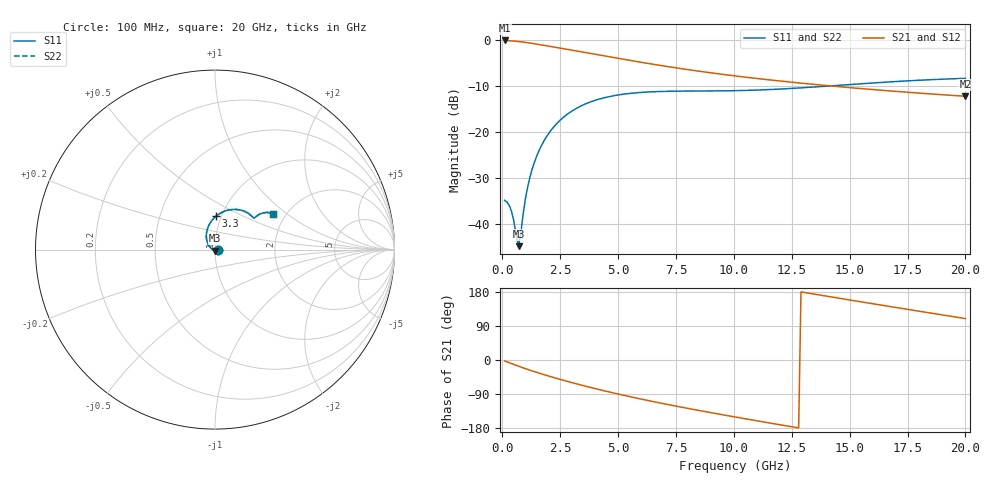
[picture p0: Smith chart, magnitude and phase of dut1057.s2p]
! Touchstone file exported from HFSS 2024.1.0
!  File:  C:/UserFiles/LocalFiles/RDL_TSV_Batchsim/temp_RDL_TSV_1057_1780090097.aedt
!  Generated:  05:45:40 AM May 30, 2026
!  Design:  RDL_TSV
!  Project:  temp_RDL_TSV_1057_1780090097
!  Setup:  Setup1
!  Solution:  Sweep
! Variables:
!  dtsv = 14.5um
!  hbump = 3um
!  htsv = 86.67um
!  ldown = 223.87um
!  lrdl = 679.57um
!  p = 40
!  p1 = 57.31um
!  rhole = 10um
!  subl = 3389.89um
!  t = 450um
!  tdown = 4.55um
!  trdl = 3.06um
!  viad = 10um
!  wdown = 10.99um
!  wrdl = 23.67um
!  xbump = 18um
# GHz S MA R 50.000000
! Terminal data exported
! Port[1] = TM1_1_T1
! Port[2] = TM1_4_T1
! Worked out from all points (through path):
!   200 points, 100 MHz to 20 GHz, reference 50 ohm
!   highest |S21| = -0.17 dB at 100 MHz (marker M1); lowest = -12.3 dB at 20 GHz (marker M2)
!   group delay of S21, straight-line fit = 32.6 ps
!   lowest |S11| = -44.8 dB at 700 MHz (marker M3), VSWR 1.01, Z = 49.9 - j0.553 ohm
!   |S11| at or under -10 dB: start of sweep to 14.27 GHz
!   |S22| runs from -44.9 to -8.4 dB; largest |S21 - S12| = 9.7e-15
!   S11 on the Smith chart (normalised r, x): 100 MHz: 1.04, -0.00; 3.3 GHz: 0.94, +0.36; 20 GHz: 1.72, +0.80
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0.1  0.01798 -4.4  0.981 -2.4  0.981 -2.4  0.01798 -4.4
! Gamma 0 0 0 0
! Port Impedance 50 0 50 0
0.3  0.01586 -16.7  0.9756 -7.2  0.9756 -7.2  0.01586 -16.7
0.4  0.01363 -25.6  0.9715 -9.5  0.9715 -9.5  0.01363 -25.6
0.5  0.01072 -38.1  0.9668 -11.8  0.9668 -11.8  0.01072 -38.1
0.7  0.005725 -104.5  0.9554 -16.3  0.9554 -16.3  0.005716 -104.5
0.8  0.007845 -153.4  0.9489 -18.5  0.9489 -18.5  0.00784 -153.4
1  0.01882 168.9  0.9346 -22.8  0.9346 -22.8  0.01882 168.8
1.1  0.0255 160.1  0.9269 -24.9  0.9269 -24.9  0.0255 160.1
1.3  0.04004 147.7  0.9108 -29.0  0.9108 -29.0  0.04005 147.7
1.5  0.05555 138.4  0.8941 -33.0  0.8941 -33.0  0.05555 138.3
1.8  0.07955 126.9  0.8687 -38.7  0.8687 -38.7  0.07954 126.9
2.2  0.1112 114.4  0.8349 -46.0  0.8349 -46.0  0.1112 114.3
2.7  0.1478 101.4  0.7938 -54.6  0.7938 -54.6  0.1477 101.3
3.3  0.1853 88.6  0.7467 -64.5  0.7467 -64.5  0.1852 88.5
3.5  0.1961 84.8  0.7315 -67.6  0.7315 -67.6  0.196 84.8
5.1  0.2532 62.1  0.6209 -91.2  0.6209 -91.2  0.253 62.1
6.8  0.2737 48.1  0.5265 -113.3  0.5265 -113.3  0.2734 48.1
8.3  0.277 41.8  0.462 -131.0  0.462 -131.0  0.2767 41.8
10.1  0.2797 39.0  0.4028 -150.9  0.4028 -150.9  0.2794 39.1
13.4  0.3055 38.7  0.3281 174.6  0.3281 174.6  0.3054 38.8
16.7  0.3478 36.4  0.2782 141.5  0.2782 141.5  0.3479 36.5
20  0.3803 31.7  0.2431 109.3  0.2431 109.3  0.3805 31.8
